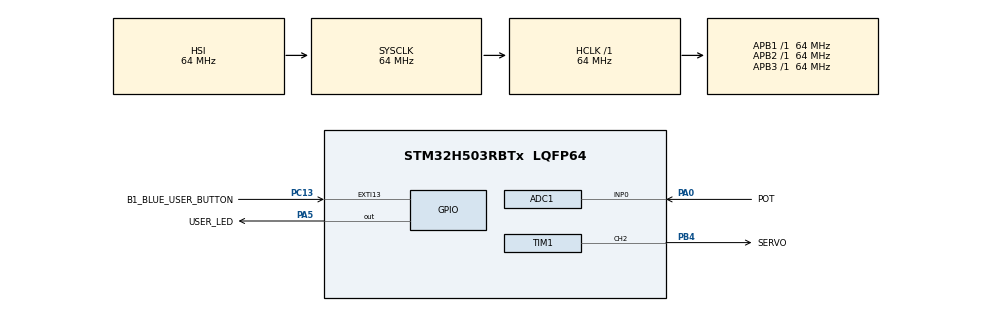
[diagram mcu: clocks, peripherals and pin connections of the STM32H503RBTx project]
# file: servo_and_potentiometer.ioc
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ADC1.Channel-0\#ChannelRegularConversion=ADC_CHANNEL_0
ADC1.MonitoredBy-0\#ChannelRegularConversion=__NULL
ADC1.NbrOfConversionFlag=1
ADC1.OffsetNumber-0\#ChannelRegularConversion=ADC_OFFSET_NONE
ADC1.Rank-0\#ChannelRegularConversion=1
ADC1.SamplingTime-0\#ChannelRegularConversion=ADC_SAMPLETIME_2CYCLES_5
ADC1.master=1
BOOTPATH.BootPathName=LEGACY
BOOTPATH.UserSelectedBootPath=LEGACY
Mcu.Family=STM32H5
Mcu.Name=STM32H503RBTx
Mcu.Package=LQFP64
NVIC.PriorityGroup=NVIC_PRIORITYGROUP_4
PA0.GPIO_Label=POT
PA0.Signal=ADCx_INP0
PA3.GPIO_Label=T_VCP_RX
PA3.Signal=USART3_RX
PA4.GPIO_Label=T_VCP_TX
PA4.Signal=USART3_TX
PA5.GPIO_Label=USER_LED
PA5.Signal=GPIO_Output
PB4(NJTRST).GPIO_Label=SERVO
PB4(NJTRST).Signal=S_TIM1_CH2
PC13.GPIO_Label=B1_BLUE_USER_BUTTON
PC13.Signal=GPXTI13
ProjectManager.HeapSize=0x200
ProjectManager.StackSize=0x400
ProjectManager.TargetToolchain=STM32CubeIDE
RCC.ADCFreq_Value=64000000
RCC.AHBFreq_Value=64000000
RCC.APB1Freq_Value=64000000
RCC.APB1TimFreq_Value=64000000
RCC.APB2Freq_Value=64000000
RCC.APB2TimFreq_Value=64000000
RCC.APB3Freq_Value=64000000
RCC.CSI_VALUE=4000000
RCC.CortexFreq_Value=64000000
RCC.EPOD_VALUE=4000000
RCC.HCLKFreq_Value=64000000
RCC.HSE_VALUE=24000000
RCC.HSI48_VALUE=48000000
RCC.HSIDiv=RCC_HSI_DIV1
RCC.HSI_VALUE=64000000
RCC.LSE_VALUE=32768
RCC.LSIRC_VALUE=32000
RCC.PLLN=32
RCC.SYSCLKFreq_VALUE=64000000
RCC.USBFreq_Value=48000000
RCC.VCOOutputFreq_Value=128000000
SH.ADCx_INP0.0=ADC1_INP0,IN0-Single-Ended
SH.S_TIM1_CH2.0=TIM1_CH2,PWM Generation2 CH2
TIM1.Channel-PWM\ Generation2\ CH2=TIM_CHANNEL_2
TIM1.PeriodNoDither=19999
TIM1.Prescaler=63
VP_BOOTPATH_VS_BOOTPATH.Mode=BP_Activate
VP_CORTEX_M33_NS_VS_Hclk.Mode=Hclk_Mode
VP_MEMORYMAP_VS_MEMORYMAP.Mode=CurAppReg
VP_PWR_VS_DBSignals.Mode=DisableDeadBatterySignals
VP_PWR_VS_LPOM.Mode=PowerOptimisation
VP_PWR_VS_SECSignals.Mode=Security/Privilege
board=NUCLEO-H503RB

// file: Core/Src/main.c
/* USER CODE BEGIN Header */
/**
  ******************************************************************************
  * @file           : main.c
  * @brief          : Main program body
  ******************************************************************************
  * @attention
  *
  * Copyright (c) 2026 STMicroelectronics.
  * All rights reserved.
  *
  * This software is licensed under terms that can be found in the LICENSE file
  * in the root directory of this software component.
  * If no LICENSE file comes with this software, it is provided AS-IS.
  *
  ******************************************************************************
  */
/* USER CODE END Header */
#include "main.h"

/* USER CODE BEGIN PD */
uint32_t pot = 0;
/* USER CODE END PD */

ADC_HandleTypeDef hadc1;

TIM_HandleTypeDef htim1;

void SystemClock_Config(void);
static void MX_GPIO_Init(void);
static void MX_ADC1_Init(void);
static void MX_TIM1_Init(void);

int main(void)
{

  /* MCU Configuration--------------------------------------------------------*/

  /* Reset of all peripherals, Initializes the Flash interface and the Systick. */
  HAL_Init();

  /* Configure the system clock */
  SystemClock_Config();

  /* Initialize all configured peripherals */
  MX_GPIO_Init();
  MX_ADC1_Init();
  MX_TIM1_Init();
  /* USER CODE BEGIN 2 */
  HAL_TIM_PWM_Start(&htim1, TIM_CHANNEL_2);

  ADC_ChannelConfTypeDef sConfig = {0};
  sConfig.Rank         = ADC_REGULAR_RANK_1;
  sConfig.SamplingTime = ADC_SAMPLETIME_2CYCLES_5;
  sConfig.SingleDiff   = ADC_SINGLE_ENDED;
  sConfig.OffsetNumber = ADC_OFFSET_NONE;
  sConfig.Offset       = 0;
  /* USER CODE END 2 */

  /* Infinite loop */
  /* USER CODE BEGIN WHILE */
  while (1)
  {
	    sConfig.Channel = ADC_CHANNEL_0;
	    HAL_ADC_ConfigChannel(&hadc1, &sConfig);
	    HAL_ADC_Start(&hadc1);
	    HAL_ADC_PollForConversion(&hadc1, HAL_MAX_DELAY);
	    pot = HAL_ADC_GetValue(&hadc1);
	    HAL_ADC_Stop(&hadc1);

	    // Map 0–4095 → 1000–2000 (µs at 1MHz timer clock)
	    uint32_t pulse = 1000 + (pot * 1000 / 4095);
	    __HAL_TIM_SET_COMPARE(&htim1, TIM_CHANNEL_2, pulse);
    /* USER CODE END WHILE */

  }
}

void SystemClock_Config(void)
{
  RCC_OscInitTypeDef RCC_OscInitStruct = {0};
  RCC_ClkInitTypeDef RCC_ClkInitStruct = {0};

  /** Configure the main internal regulator output voltage
  */
  __HAL_PWR_VOLTAGESCALING_CONFIG(PWR_REGULATOR_VOLTAGE_SCALE3);

  while(!__HAL_PWR_GET_FLAG(PWR_FLAG_VOSRDY)) {}

  /** Initializes the RCC Oscillators according to the specified parameters
  * in the RCC_OscInitTypeDef structure.
  */
  RCC_OscInitStruct.OscillatorType = RCC_OSCILLATORTYPE_HSI;
  RCC_OscInitStruct.HSIState = RCC_HSI_ON;
  RCC_OscInitStruct.HSIDiv = RCC_HSI_DIV1;
  RCC_OscInitStruct.HSICalibrationValue = RCC_HSICALIBRATION_DEFAULT;
  RCC_OscInitStruct.PLL.PLLState = RCC_PLL_NONE;
  if (HAL_RCC_OscConfig(&RCC_OscInitStruct) != HAL_OK)
  {
    Error_Handler();
  }

  /** Initializes the CPU, AHB and APB buses clocks
  */
  RCC_ClkInitStruct.ClockType = RCC_CLOCKTYPE_HCLK|RCC_CLOCKTYPE_SYSCLK
                              |RCC_CLOCKTYPE_PCLK1|RCC_CLOCKTYPE_PCLK2
                              |RCC_CLOCKTYPE_PCLK3;
  RCC_ClkInitStruct.SYSCLKSource = RCC_SYSCLKSOURCE_HSI;
  RCC_ClkInitStruct.AHBCLKDivider = RCC_SYSCLK_DIV1;
  RCC_ClkInitStruct.APB1CLKDivider = RCC_HCLK_DIV1;
  RCC_ClkInitStruct.APB2CLKDivider = RCC_HCLK_DIV1;
  RCC_ClkInitStruct.APB3CLKDivider = RCC_HCLK_DIV1;

  if (HAL_RCC_ClockConfig(&RCC_ClkInitStruct, FLASH_LATENCY_3) != HAL_OK)
  {
    Error_Handler();
  }

  /** Configure the programming delay
  */
  __HAL_FLASH_SET_PROGRAM_DELAY(FLASH_PROGRAMMING_DELAY_1);
}

static void MX_ADC1_Init(void)
{

  ADC_ChannelConfTypeDef sConfig = {0};

  /** Common config
  */
  hadc1.Instance = ADC1;
  hadc1.Init.ClockPrescaler = ADC_CLOCK_ASYNC_DIV2;
  hadc1.Init.Resolution = ADC_RESOLUTION_12B;
  hadc1.Init.DataAlign = ADC_DATAALIGN_RIGHT;
  hadc1.Init.ScanConvMode = ADC_SCAN_DISABLE;
  hadc1.Init.EOCSelection = ADC_EOC_SINGLE_CONV;
  hadc1.Init.LowPowerAutoWait = DISABLE;
  hadc1.Init.ContinuousConvMode = DISABLE;
  hadc1.Init.NbrOfConversion = 1;
  hadc1.Init.DiscontinuousConvMode = DISABLE;
  hadc1.Init.ExternalTrigConv = ADC_SOFTWARE_START;
  hadc1.Init.ExternalTrigConvEdge = ADC_EXTERNALTRIGCONVEDGE_NONE;
  hadc1.Init.DMAContinuousRequests = DISABLE;
  hadc1.Init.SamplingMode = ADC_SAMPLING_MODE_NORMAL;
  hadc1.Init.Overrun = ADC_OVR_DATA_PRESERVED;
  hadc1.Init.OversamplingMode = DISABLE;
  if (HAL_ADC_Init(&hadc1) != HAL_OK)
  {
    Error_Handler();
  }

  /** Configure Regular Channel
  */
  sConfig.Channel = ADC_CHANNEL_0;
  sConfig.Rank = ADC_REGULAR_RANK_1;
  sConfig.SamplingTime = ADC_SAMPLETIME_2CYCLES_5;
  sConfig.SingleDiff = ADC_SINGLE_ENDED;
  sConfig.OffsetNumber = ADC_OFFSET_NONE;
  sConfig.Offset = 0;
  if (HAL_ADC_ConfigChannel(&hadc1, &sConfig) != HAL_OK)
  {
    Error_Handler();
  }

}

static void MX_TIM1_Init(void)
{

  TIM_MasterConfigTypeDef sMasterConfig = {0};
  TIM_OC_InitTypeDef sConfigOC = {0};
  TIM_BreakDeadTimeConfigTypeDef sBreakDeadTimeConfig = {0};

  htim1.Instance = TIM1;
  htim1.Init.Prescaler = 63;
  htim1.Init.CounterMode = TIM_COUNTERMODE_UP;
  htim1.Init.Period = 19999;
  htim1.Init.ClockDivision = TIM_CLOCKDIVISION_DIV1;
  htim1.Init.RepetitionCounter = 0;
  htim1.Init.AutoReloadPreload = TIM_AUTORELOAD_PRELOAD_DISABLE;
  if (HAL_TIM_PWM_Init(&htim1) != HAL_OK)
  {
    Error_Handler();
  }
  sMasterConfig.MasterOutputTrigger = TIM_TRGO_RESET;
  sMasterConfig.MasterOutputTrigger2 = TIM_TRGO2_RESET;
  sMasterConfig.MasterSlaveMode = TIM_MASTERSLAVEMODE_DISABLE;
  if (HAL_TIMEx_MasterConfigSynchronization(&htim1, &sMasterConfig) != HAL_OK)
  {
    Error_Handler();
  }
  sConfigOC.OCMode = TIM_OCMODE_PWM1;
  sConfigOC.Pulse = 0;
  sConfigOC.OCPolarity = TIM_OCPOLARITY_HIGH;
  sConfigOC.OCNPolarity = TIM_OCNPOLARITY_HIGH;
  sConfigOC.OCFastMode = TIM_OCFAST_DISABLE;
  sConfigOC.OCIdleState = TIM_OCIDLESTATE_RESET;
  sConfigOC.OCNIdleState = TIM_OCNIDLESTATE_RESET;
  if (HAL_TIM_PWM_ConfigChannel(&htim1, &sConfigOC, TIM_CHANNEL_2) != HAL_OK)
  {
    Error_Handler();
  }
  sBreakDeadTimeConfig.OffStateRunMode = TIM_OSSR_DISABLE;
  sBreakDeadTimeConfig.OffStateIDLEMode = TIM_OSSI_DISABLE;
  sBreakDeadTimeConfig.LockLevel = TIM_LOCKLEVEL_OFF;
  sBreakDeadTimeConfig.DeadTime = 0;
  sBreakDeadTimeConfig.BreakState = TIM_BREAK_DISABLE;
  sBreakDeadTimeConfig.BreakPolarity = TIM_BREAKPOLARITY_HIGH;
  sBreakDeadTimeConfig.BreakFilter = 0;
  sBreakDeadTimeConfig.BreakAFMode = TIM_BREAK_AFMODE_INPUT;
  sBreakDeadTimeConfig.Break2State = TIM_BREAK2_DISABLE;
  sBreakDeadTimeConfig.Break2Polarity = TIM_BREAK2POLARITY_HIGH;
  sBreakDeadTimeConfig.Break2Filter = 0;
  sBreakDeadTimeConfig.Break2AFMode = TIM_BREAK_AFMODE_INPUT;
  sBreakDeadTimeConfig.AutomaticOutput = TIM_AUTOMATICOUTPUT_DISABLE;
  if (HAL_TIMEx_ConfigBreakDeadTime(&htim1, &sBreakDeadTimeConfig) != HAL_OK)
  {
    Error_Handler();
  }
  HAL_TIM_MspPostInit(&htim1);

}

static void MX_GPIO_Init(void)
{
  GPIO_InitTypeDef GPIO_InitStruct = {0};

  /* GPIO Ports Clock Enable */
  __HAL_RCC_GPIOC_CLK_ENABLE();
  __HAL_RCC_GPIOA_CLK_ENABLE();
  __HAL_RCC_GPIOB_CLK_ENABLE();

  /*Configure GPIO pin Output Level */
  HAL_GPIO_WritePin(USER_LED_GPIO_Port, USER_LED_Pin, GPIO_PIN_RESET);

  /*Configure GPIO pin : B1_BLUE_USER_BUTTON_Pin */
  GPIO_InitStruct.Pin = B1_BLUE_USER_BUTTON_Pin;
  GPIO_InitStruct.Mode = GPIO_MODE_IT_RISING;
  GPIO_InitStruct.Pull = GPIO_NOPULL;
  HAL_GPIO_Init(B1_BLUE_USER_BUTTON_GPIO_Port, &GPIO_InitStruct);

  /*Configure GPIO pins : T_VCP_RX_Pin T_VCP_TX_Pin */
  GPIO_InitStruct.Pin = T_VCP_RX_Pin|T_VCP_TX_Pin;
  GPIO_InitStruct.Mode = GPIO_MODE_AF_PP;
  GPIO_InitStruct.Pull = GPIO_NOPULL;
  GPIO_InitStruct.Speed = GPIO_SPEED_FREQ_LOW;
  GPIO_InitStruct.Alternate = GPIO_AF13_USART3;
  HAL_GPIO_Init(GPIOA, &GPIO_InitStruct);

  /*Configure GPIO pin : USER_LED_Pin */
  GPIO_InitStruct.Pin = USER_LED_Pin;
  GPIO_InitStruct.Mode = GPIO_MODE_OUTPUT_PP;
  GPIO_InitStruct.Pull = GPIO_NOPULL;
  GPIO_InitStruct.Speed = GPIO_SPEED_FREQ_LOW;
  HAL_GPIO_Init(USER_LED_GPIO_Port, &GPIO_InitStruct);

}

void Error_Handler(void)
{
  __disable_irq();
  while (1)
  {
  }
}
